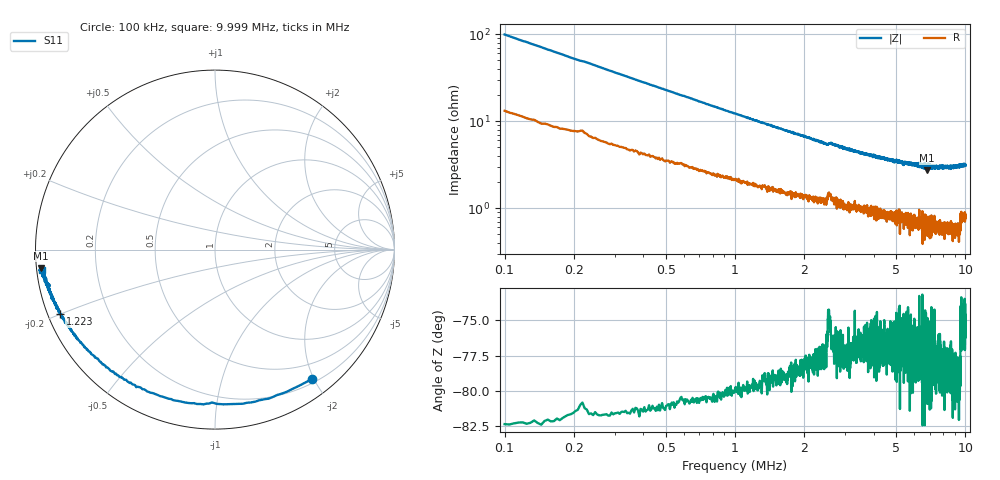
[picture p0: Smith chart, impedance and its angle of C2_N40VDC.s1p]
# HZ S RI R 50
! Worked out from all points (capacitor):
!   2020 points, 100 kHz to 9.999 MHz, reference 50 ohm
!   read as one part to ground: C = 15.1 nF near 149 kHz
!   lowest |Z| = 2.72 ohm at 6.832 MHz (marker M1)
!   S11 on the Smith chart (normalised r, x): 100 kHz: 0.26, -1.97; 1.223 MHz: 0.04, -0.20; 9.999 MHz: 0.02, -0.06
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100000  0.5381 -0.7197
129418  0.374 -0.8019
158836  0.2267 -0.8464
188254  0.0895 -0.8612
232381  -0.0647 -0.8622
281411  -0.2228 -0.8409
320635  -0.3169 -0.811
364762  -0.405 -0.7778
413792  -0.4827 -0.7373
457919  -0.5389 -0.7008
521658  -0.6067 -0.6567
585397  -0.6534 -0.6072
663845  -0.7059 -0.5651
747196  -0.746 -0.5179
943316  -0.8076 -0.4367
1222787  -0.8616 -0.3598
1340459  -0.8712 -0.3375
1850371  -0.9101 -0.2577
2438731  -0.935 -0.2051
2576015  -0.9246 -0.2011
2992770  -0.9425 -0.1814
3816474  -0.9533 -0.1509
5052030  -0.9586 -0.1264
6287586  -0.966 -0.1153
6831819  -0.97 -0.1028
7528045  -0.9714 -0.1143
8763601  -0.9688 -0.1126
9999157  -0.9626 -0.1153
